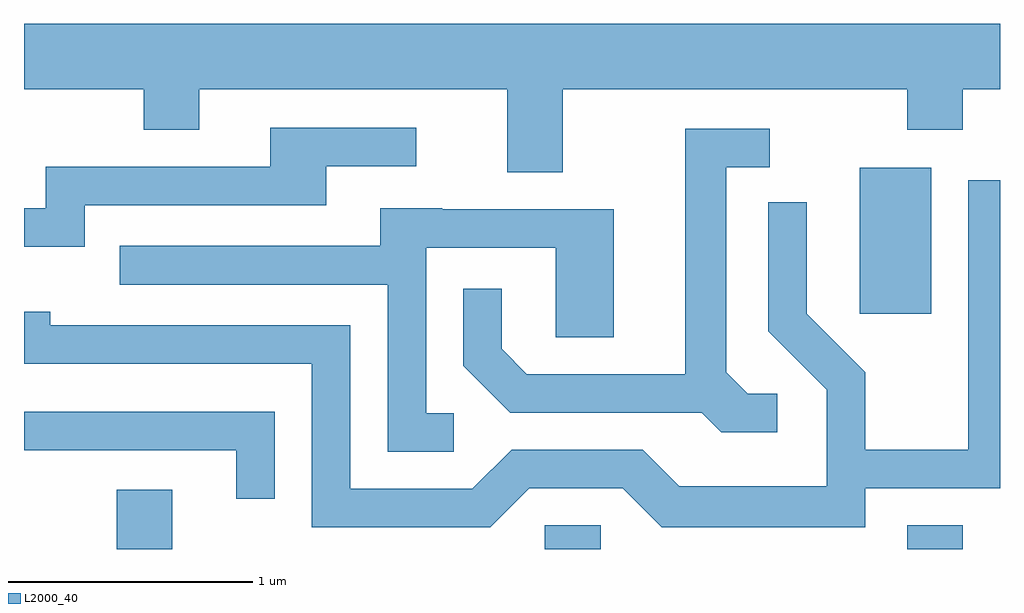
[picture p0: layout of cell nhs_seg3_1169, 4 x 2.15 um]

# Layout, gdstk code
import gdstk
lib = gdstk.Library(unit=1e-6, precision=1e-09)
def R(c, l, rs):  # rectangles x0, y0, x1, y1
    for r in rs: c.add(gdstk.rectangle(r[:2], r[2:], *l))
def P(c, l, *ps):  # polygons
    for p in ps: c.add(gdstk.Polygon(p, *l))
L2000_40 = (2000, 40)

nhs_seg3_1169 = lib.new_cell('nhs_seg3_1169')
R(nhs_seg3_1169, L2000_40, [(219.991,1141.892,220.219,1142.134), (221.746,1141.892,221.974,1141.989), (223.231,1141.892,223.459,1141.989), (223.036,1142.856,223.329,1143.454)])
P(nhs_seg3_1169, L2000_40, [(221.819,1143.776),(223.231,1143.776),(223.231,1143.611),(223.459,1143.611),(223.459,1143.776),(223.611,1143.776),(223.611,1144.044),(219.611,1144.044),(219.611,1143.776),(220.101,1143.776),(220.101,1143.611),(220.329,1143.611),(220.329,1143.776),(221.591,1143.776),(221.591,1143.436),(221.819,1143.436)],
  [(219.859,1143.301),(220.849,1143.301),(220.849,1143.461),(221.218,1143.461),(221.218,1143.619),(220.621,1143.619),(220.621,1143.459),(219.701,1143.459),(219.701,1143.289),(219.611,1143.289),(219.611,1143.131),(219.859,1143.131)],
  [(222.698,1142.529),(222.577,1142.529),(222.489,1142.617),(222.489,1143.456),(222.668,1143.456),(222.668,1143.614),(222.321,1143.614),(222.321,1142.609),(221.672,1142.609),(221.569,1142.712),(221.569,1142.958),(221.411,1142.958),(221.411,1142.644),(221.604,1142.451),(222.389,1142.451),(222.469,1142.371),(222.698,1142.371)],
  [(221.682,1142.141),(222.064,1142.141),(222.224,1141.981),(223.059,1141.981),(223.059,1142.141),(223.611,1142.141),(223.611,1143.404),(223.481,1143.404),(223.481,1142.299),(223.059,1142.299),(223.059,1142.617),(222.819,1142.857),(222.819,1143.313),(222.661,1143.313),(222.661,1142.784),(222.901,1142.544),(222.901,1142.149),(222.297,1142.149),(222.147,1142.299),(221.609,1142.299),(221.449,1142.139),(220.949,1142.139),(220.949,1142.809),(219.719,1142.809),(219.719,1142.864),(219.611,1142.864),(219.611,1142.651),(220.791,1142.651),(220.791,1141.981),(221.522,1141.981)],
  [(221.373,1142.449),(221.259,1142.449),(221.259,1143.126),(221.791,1143.126),(221.791,1142.761),(222.029,1142.761),(222.029,1143.284),(221.325,1143.284),(221.325,1143.289),(221.071,1143.289),(221.071,1143.134),(220.003,1143.134),(220.003,1142.976),(221.101,1142.976),(221.101,1142.291),(221.373,1142.291)],
  [(220.639,1142.454),(219.611,1142.454),(219.611,1142.296),(220.481,1142.296),(220.481,1142.098),(220.639,1142.098)])

lib.write_gds('nhs_seg3_1169.gds')
